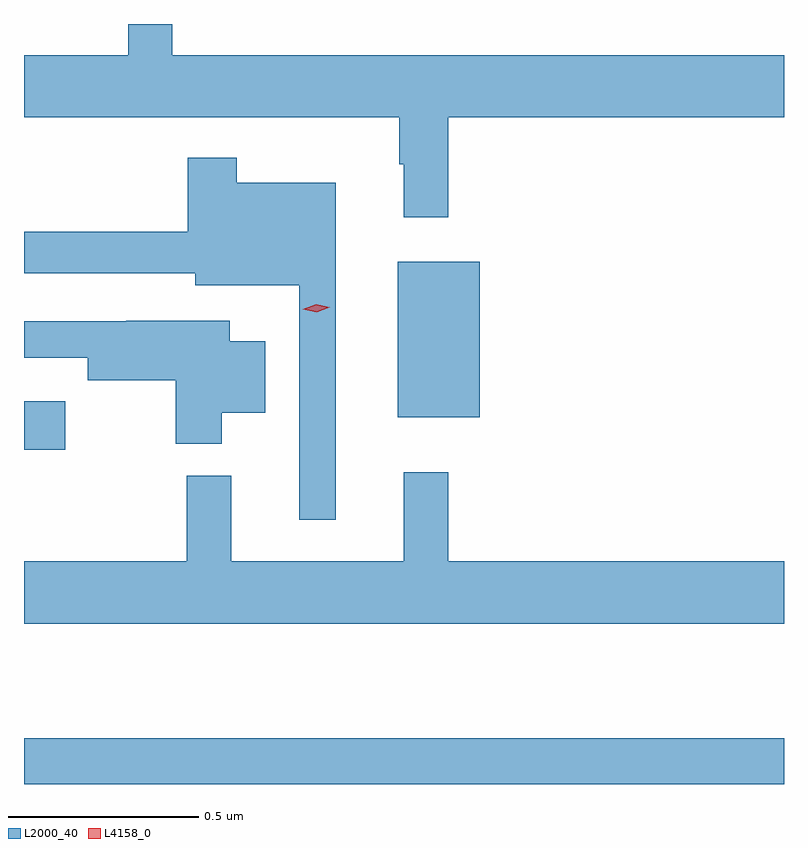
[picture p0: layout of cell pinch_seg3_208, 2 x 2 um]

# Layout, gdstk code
import gdstk
lib = gdstk.Library(unit=1e-6, precision=1e-09)
def R(c, l, rs):  # rectangles x0, y0, x1, y1
    for r in rs: c.add(gdstk.rectangle(r[:2], r[2:], *l))
def P(c, l, *ps):  # polygons
    for p in ps: c.add(gdstk.Polygon(p, *l))
L2000_40 = (2000, 40)
L4158_0 = (4158, 0)

pinch_seg3_208 = lib.new_cell('pinch_seg3_208')
R(pinch_seg3_208, L2000_40, [(968.819,736.458,970.819,736.579), (968.819,737.338,968.927,737.465), (969.803,737.423,970.018,737.833)])
P(pinch_seg3_208, L2000_40, [(969.935,738.212),(970.819,738.212),(970.819,738.376),(969.209,738.376),(969.209,738.458),(969.093,738.458),(969.093,738.376),(968.819,738.376),(968.819,738.212),(969.807,738.212),(969.807,738.089),(969.818,738.089),(969.818,737.949),(969.935,737.949)],
  [(969.64,738.04),(969.379,738.04),(969.379,738.106),(969.25,738.106),(969.25,737.911),(968.819,737.911),(968.819,737.802),(969.269,737.802),(969.269,737.771),(969.543,737.771),(969.543,737.154),(969.64,737.154)],
  [(969.34,737.435),(969.454,737.435),(969.454,737.623),(969.36,737.623),(969.36,737.677),(969.088,737.677),(969.088,737.676),(968.819,737.676),(968.819,737.58),(968.987,737.58),(968.987,737.52),(969.218,737.52),(969.218,737.354),(969.34,737.354)],
  [(970.819,737.044),(969.935,737.044),(969.935,737.278),(969.818,737.278),(969.818,737.044),(969.365,737.044),(969.365,737.269),(969.247,737.269),(969.247,737.044),(968.819,737.044),(968.819,736.88),(970.819,736.88)])
P(pinch_seg3_208, L4158_0, [(969.589,737.7),(969.553,737.707),(969.553,737.707),(969.553,737.708),(969.588,737.72),(969.624,737.712),(969.624,737.712),(969.624,737.712)])

lib.write_gds('pinch_seg3_208.gds')
